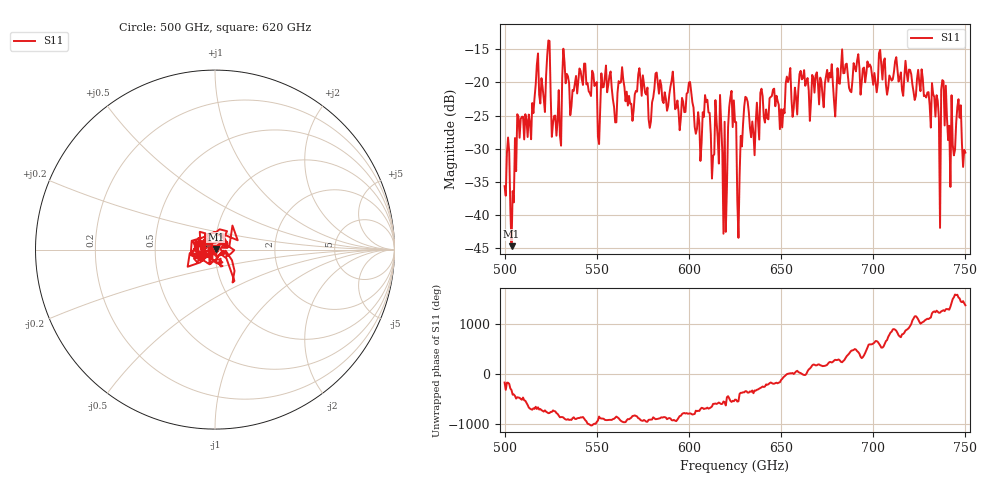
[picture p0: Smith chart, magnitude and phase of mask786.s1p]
!Created with skrf (http://scikit-rf.org).
# GHz S MA R 50.0
!freq magS11 angS11
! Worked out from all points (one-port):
!   401 points, 500 GHz to 750 GHz, reference 50 ohm
!   lowest |S11| = -44.7 dB at 503.8 GHz (marker M1), VSWR 1.01, Z = 50.5 + j0.357 ohm
!   |S11| at or under -10 dB: start of sweep to end of sweep
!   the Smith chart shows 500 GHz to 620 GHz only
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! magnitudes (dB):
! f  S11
! 500 GHz  -35.7
! 503.8 GHz  -44.7
! 508.1 GHz  -28.4
! 513.1 GHz  -24.9
! 517.5 GHz  -17.3
! 523.8 GHz  -13.7
! 526.9 GHz  -25.1
! 531.2 GHz  -19.3
! 562.5 GHz  -20.1
! 593.8 GHz  -22.7
! 610 GHz  -22.6
! 612.5 GHz  -34.5
! 616.2 GHz  -32.3
! 619.4 GHz  -25.9
! 622.5 GHz  -22.3
! 625 GHz  -26.0
! 627.5 GHz  -34.0
! 631.2 GHz  -22.3
! 634.4 GHz  -25.9
! 656.2 GHz  -25.2
! 687.5 GHz  -21.3
! 718.8 GHz  -19.8
! 733.1 GHz  -22.2
! 735 GHz  -22.8
! 738.1 GHz  -19.8
! 743.1 GHz  -29.4
! 746.2 GHz  -22.5
! 750 GHz  -30.6
